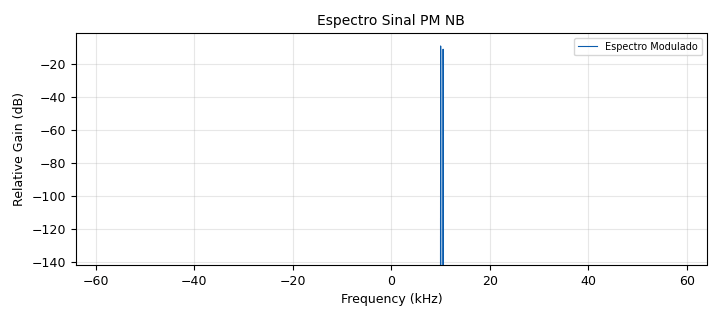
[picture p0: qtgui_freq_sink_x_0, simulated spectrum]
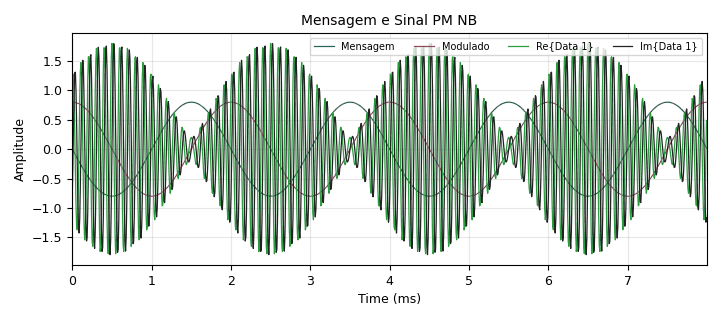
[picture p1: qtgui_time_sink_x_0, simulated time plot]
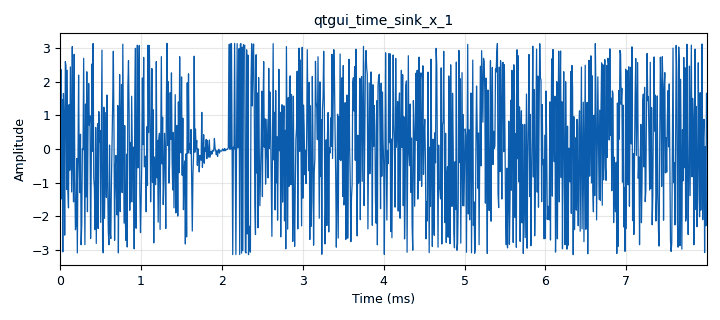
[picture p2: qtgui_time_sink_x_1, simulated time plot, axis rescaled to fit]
<?xml version='1.0' encoding='utf-8'?>
<?grc format='1' created='3.7.13'?>
<flow_graph>
<block>
<key>options</key>
<param><key>id</key><value>Labo4_1</value></param>
<param><key>category</key><value>Custom</value></param>
<param><key>generate_options</key><value>qt_gui</value></param>
<param><key>title</key><value>PM de faixa estreita</value></param>
</block>
<block>
<key>variable_qtgui_range</key>
<param><key>id</key><value>F</value></param>
<param><key>value</key><value>500</value></param>
<param><key>label</key><value>Frequencia fonte</value></param>
<param><key>orient</key><value>Qt.Horizontal</value></param>
<param><key>start</key><value>0</value></param>
<param><key>step</key><value>10</value></param>
<param><key>stop</key><value>1000</value></param>
</block>
<block>
<key>variable_qtgui_range</key>
<param><key>id</key><value>Fp</value></param>
<param><key>value</key><value>10000</value></param>
<param><key>label</key><value>Frequencia Portadora</value></param>
<param><key>orient</key><value>Qt.Horizontal</value></param>
<param><key>start</key><value>5000</value></param>
<param><key>step</key><value>200</value></param>
<param><key>stop</key><value>20000</value></param>
</block>
<block>
<key>variable_qtgui_range</key>
<param><key>id</key><value>Kp</value></param>
<param><key>value</key><value>0.8</value></param>
<param><key>label</key><value>Kp</value></param>
<param><key>orient</key><value>Qt.Horizontal</value></param>
<param><key>start</key><value>0</value></param>
<param><key>step</key><value>0.01</value></param>
<param><key>stop</key><value>1</value></param>
</block>
<block>
<key>variable</key>
<param><key>id</key><value>samp_rate</value></param>
<param><key>value</key><value>32000*4</value></param>
</block>
<block>
<key>analog_const_source_x</key>
<param><key>id</key><value>analog_const_source_x_0</value></param>
<param><key>const</key><value>Kp</value></param>
<param><key>type</key><value>complex</value></param>
</block>
<block>
<key>analog_sig_source_x</key>
<param><key>id</key><value>analog_sig_source_x_0</value></param>
<param><key>amp</key><value>1</value></param>
<param><key>freq</key><value>F</value></param>
<param><key>offset</key><value>0</value></param>
<param><key>type</key><value>complex</value></param>
<param><key>samp_rate</key><value>samp_rate</value></param>
<param><key>waveform</key><value>analog.GR_SIN_WAVE</value></param>
</block>
<block>
<key>analog_sig_source_x</key>
<param><key>id</key><value>analog_sig_source_x_1</value></param>
<param><key>amp</key><value>1</value></param>
<param><key>freq</key><value>Fp</value></param>
<param><key>offset</key><value>0</value></param>
<param><key>type</key><value>complex</value></param>
<param><key>samp_rate</key><value>samp_rate</value></param>
<param><key>waveform</key><value>analog.GR_COS_WAVE</value></param>
</block>
<block>
<key>analog_sig_source_x</key>
<param><key>id</key><value>analog_sig_source_x_2</value></param>
<param><key>amp</key><value>1</value></param>
<param><key>freq</key><value>Fp</value></param>
<param><key>offset</key><value>0</value></param>
<param><key>type</key><value>complex</value></param>
<param><key>samp_rate</key><value>samp_rate</value></param>
<param><key>waveform</key><value>analog.GR_SIN_WAVE</value></param>
</block>
<block>
<key>blocks_complex_to_arg</key>
<param><key>id</key><value>blocks_complex_to_arg_0</value></param>
</block>
<block>
<key>blocks_multiply_xx</key>
<param><key>id</key><value>blocks_multiply_xx_0</value></param>
<param><key>type</key><value>complex</value></param>
</block>
<block>
<key>blocks_multiply_xx</key>
<param><key>id</key><value>blocks_multiply_xx_0_0</value></param>
<param><key>type</key><value>complex</value></param>
</block>
<block>
<key>blocks_stream_to_vector</key>
<param><key>id</key><value>blocks_stream_to_vector_0</value></param>
<param><key>type</key><value>complex</value></param>
<param><key>num_items</key><value>1024</value></param>
</block>
<block>
<key>blocks_sub_xx</key>
<param><key>id</key><value>blocks_sub_xx_0</value></param>
<param><key>type</key><value>complex</value></param>
</block>
<block>
<key>blocks_throttle</key>
<param><key>id</key><value>blocks_throttle_0</value></param>
<param><key>samples_per_second</key><value>samp_rate</value></param>
<param><key>type</key><value>complex</value></param>
</block>
<block>
<key>blocks_vector_to_stream</key>
<param><key>id</key><value>blocks_vector_to_stream_0</value></param>
<param><key>type</key><value>complex</value></param>
<param><key>num_items</key><value>1024</value></param>
</block>
<block>
<key>fft_vxx</key>
<param><key>id</key><value>fft_vxx_0</value></param>
<param><key>fft_size</key><value>1024</value></param>
<param><key>forward</key><value>True</value></param>
<param><key>type</key><value>complex</value></param>
<param><key>shift</key><value>True</value></param>
<param><key>window</key><value>window.blackmanharris(1024)</value></param>
</block>
<block>
<key>qtgui_freq_sink_x</key>
<param><key>id</key><value>qtgui_freq_sink_x_0</value></param>
<param><key>autoscale</key><value>True</value></param>
<param><key>bw</key><value>samp_rate</value></param>
<param><key>fc</key><value>0</value></param>
<param><key>fftsize</key><value>1024*15</value></param>
<param><key>grid</key><value>True</value></param>
<param><key>label1</key><value>Espectro Modulado</value></param>
<param><key>name</key><value>Espectro Sinal PM NB</value></param>
<param><key>showports</key><value>True</value></param>
<param><key>type</key><value>complex</value></param>
<param><key>wintype</key><value>firdes.WIN_BLACKMAN_hARRIS</value></param>
</block>
<block>
<key>qtgui_time_sink_x</key>
<param><key>id</key><value>qtgui_time_sink_x_0</value></param>
<param><key>autoscale</key><value>True</value></param>
<param><key>grid</key><value>True</value></param>
<param><key>color1</key><value>"blue"</value></param>
<param><key>label1</key><value>Mensagem</value></param>
<param><key>color2</key><value>"red"</value></param>
<param><key>label2</key><value>Modulado</value></param>
<param><key>color3</key><value>"green"</value></param>
<param><key>label3</key><value></value></param>
<param><key>color4</key><value>"black"</value></param>
<param><key>label4</key><value></value></param>
<param><key>name</key><value>Mensagem e Sinal PM NB</value></param>
<param><key>nconnections</key><value>2</value></param>
<param><key>size</key><value>1024</value></param>
<param><key>srate</key><value>samp_rate</value></param>
<param><key>type</key><value>complex</value></param>
</block>
<block>
<key>qtgui_time_sink_x</key>
<param><key>id</key><value>qtgui_time_sink_x_1</value></param>
<param><key>color1</key><value>"blue"</value></param>
<param><key>label1</key><value></value></param>
<param><key>size</key><value>1024</value></param>
<param><key>srate</key><value>samp_rate</value></param>
<param><key>type</key><value>float</value></param>
</block>
<connection><source_block_id>analog_const_source_x_0</source_block_id><sink_block_id>blocks_multiply_xx_0_0</sink_block_id><source_key>0</source_key><sink_key>0</sink_key></connection>
<connection><source_block_id>analog_sig_source_x_0</source_block_id><sink_block_id>blocks_multiply_xx_0_0</sink_block_id><source_key>0</source_key><sink_key>1</sink_key></connection>
<connection><source_block_id>analog_sig_source_x_1</source_block_id><sink_block_id>blocks_sub_xx_0</sink_block_id><source_key>0</source_key><sink_key>0</sink_key></connection>
<connection><source_block_id>analog_sig_source_x_2</source_block_id><sink_block_id>blocks_multiply_xx_0</sink_block_id><source_key>0</source_key><sink_key>1</sink_key></connection>
<connection><source_block_id>blocks_complex_to_arg_0</source_block_id><sink_block_id>qtgui_time_sink_x_1</sink_block_id><source_key>0</source_key><sink_key>0</sink_key></connection>
<connection><source_block_id>blocks_multiply_xx_0</source_block_id><sink_block_id>blocks_sub_xx_0</sink_block_id><source_key>0</source_key><sink_key>1</sink_key></connection>
<connection><source_block_id>blocks_multiply_xx_0_0</source_block_id><sink_block_id>blocks_throttle_0</sink_block_id><source_key>0</source_key><sink_key>0</sink_key></connection>
<connection><source_block_id>blocks_stream_to_vector_0</source_block_id><sink_block_id>fft_vxx_0</sink_block_id><source_key>0</source_key><sink_key>0</sink_key></connection>
<connection><source_block_id>blocks_sub_xx_0</source_block_id><sink_block_id>blocks_stream_to_vector_0</sink_block_id><source_key>0</source_key><sink_key>0</sink_key></connection>
<connection><source_block_id>blocks_sub_xx_0</source_block_id><sink_block_id>qtgui_freq_sink_x_0</sink_block_id><source_key>0</source_key><sink_key>0</sink_key></connection>
<connection><source_block_id>blocks_sub_xx_0</source_block_id><sink_block_id>qtgui_time_sink_x_0</sink_block_id><source_key>0</source_key><sink_key>1</sink_key></connection>
<connection><source_block_id>blocks_throttle_0</source_block_id><sink_block_id>blocks_multiply_xx_0</sink_block_id><source_key>0</source_key><sink_key>0</sink_key></connection>
<connection><source_block_id>blocks_throttle_0</source_block_id><sink_block_id>qtgui_time_sink_x_0</sink_block_id><source_key>0</source_key><sink_key>0</sink_key></connection>
<connection><source_block_id>blocks_vector_to_stream_0</source_block_id><sink_block_id>blocks_complex_to_arg_0</sink_block_id><source_key>0</source_key><sink_key>0</sink_key></connection>
<connection><source_block_id>fft_vxx_0</source_block_id><sink_block_id>blocks_vector_to_stream_0</sink_block_id><source_key>0</source_key><sink_key>0</sink_key></connection>
</flow_graph>
